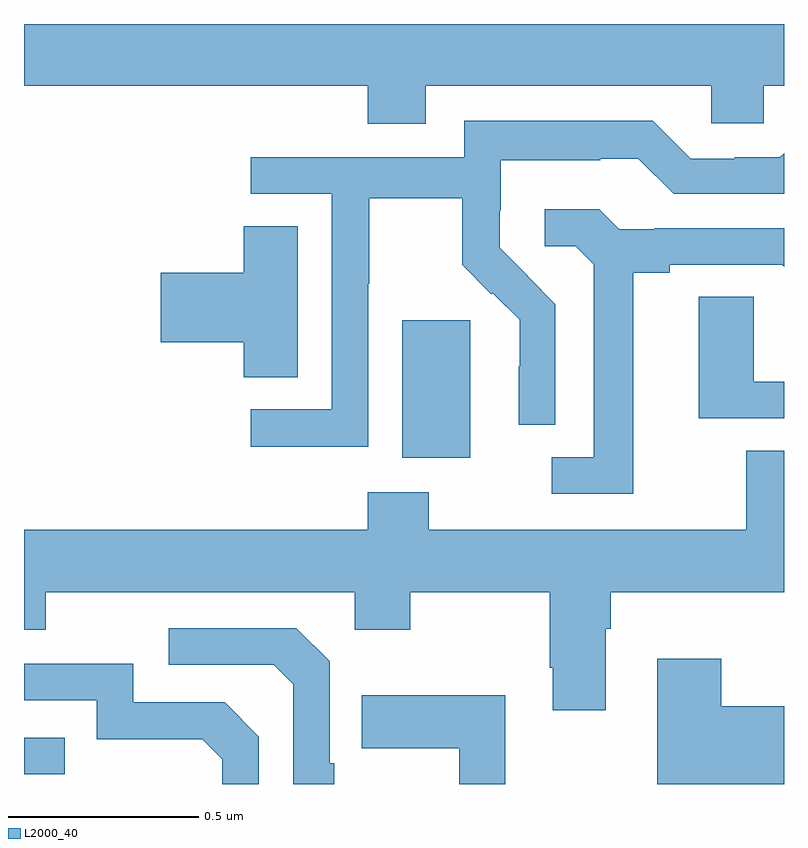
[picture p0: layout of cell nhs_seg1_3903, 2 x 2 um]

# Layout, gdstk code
import gdstk
lib = gdstk.Library(unit=1e-6, precision=1e-09)
def R(c, l, rs):  # rectangles x0, y0, x1, y1
    for r in rs: c.add(gdstk.rectangle(r[:2], r[2:], *l))
def P(c, l, *ps):  # polygons
    for p in ps: c.add(gdstk.Polygon(p, *l))
L2000_40 = (2000, 40)

nhs_seg1_3903 = lib.new_cell('nhs_seg1_3903')
R(nhs_seg1_3903, L2000_40, [(159,579.225,159.107,579.321), (159.995,580.058,160.174,580.419)])
P(nhs_seg1_3903, L2000_40, [(160.057,581.036),(160.809,581.036),(160.809,580.938),(160.947,580.938),(160.947,581.036),(161,581.036),(161,581.199),(159,581.199),(159,581.036),(159.905,581.036),(159.905,580.937),(160.057,580.937)],
  [(159.906,580.516),(159.909,580.516),(159.909,580.74),(160.153,580.74),(160.153,580.565),(160.23,580.488),(160.233,580.491),(160.304,580.421),(160.304,580.298),(160.302,580.298),(160.302,580.144),(160.398,580.144),(160.398,580.462),(160.325,580.535),(160.326,580.536),(160.252,580.61),(160.252,580.707),(160.254,580.707),(160.254,580.841),(160.517,580.841),(160.517,580.845),(160.617,580.845),(160.71,580.752),(161,580.752),(161,580.859),(160.989,580.848),(160.871,580.848),(160.871,580.845),(160.755,580.845),(160.655,580.945),(160.158,580.945),(160.158,580.848),(159.597,580.848),(159.597,580.752),(159.81,580.752),(159.81,580.185),(159.597,580.185),(159.597,580.087),(159.906,580.087)],
  [(160.603,580.544),(160.699,580.544),(160.699,580.566),(160.994,580.566),(161,580.56),(161,580.662),(160.66,580.662),(160.66,580.659),(160.566,580.659),(160.514,580.711),(160.371,580.711),(160.371,580.614),(160.452,580.614),(160.499,580.567),(160.499,580.059),(160.389,580.059),(160.389,579.963),(160.603,579.963)],
  [(159.721,580.667),(159.578,580.667),(159.578,580.544),(159.36,580.544),(159.36,580.361),(159.578,580.361),(159.578,580.27),(159.721,580.27)],
  [(161,580.257),(160.92,580.257),(160.92,580.481),(160.775,580.481),(160.775,580.161),(161,580.161)],
  [(160.531,579.608),(160.544,579.608),(160.544,579.704),(161,579.704),(161,580.076),(160.901,580.076),(160.901,579.868),(160.065,579.868),(160.065,579.967),(159.905,579.967),(159.905,579.868),(159,579.868),(159,579.605),(159.057,579.605),(159.057,579.704),(159.87,579.704),(159.87,579.605),(160.017,579.605),(160.017,579.704),(160.384,579.704),(160.384,579.505),(160.391,579.505),(160.391,579.393),(160.531,579.393)],
  [(159.817,579.253),(159.804,579.253),(159.804,579.522),(159.717,579.609),(159.381,579.609),(159.381,579.513),(159.657,579.513),(159.708,579.462),(159.708,579.199),(159.817,579.199)],
  [(161,579.403),(160.835,579.403),(160.835,579.529),(160.667,579.529),(160.667,579.199),(161,579.199)],
  [(159.618,579.324),(159.528,579.414),(159.288,579.414),(159.288,579.516),(159,579.516),(159,579.42),(159.192,579.42),(159.192,579.317),(159.469,579.317),(159.522,579.264),(159.522,579.199),(159.618,579.199)],
  [(160.267,579.433),(159.889,579.433),(159.889,579.293),(160.146,579.293),(160.146,579.199),(160.267,579.199)])

lib.write_gds('nhs_seg1_3903.gds')
